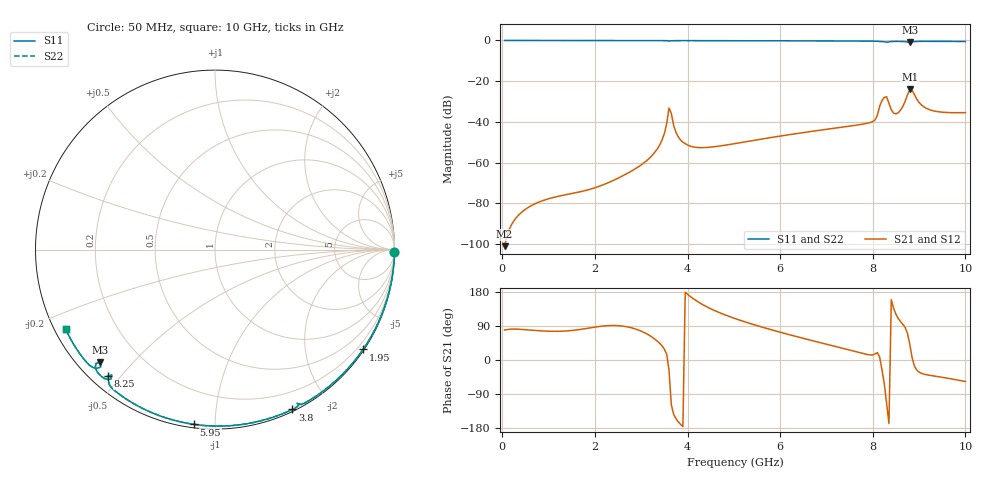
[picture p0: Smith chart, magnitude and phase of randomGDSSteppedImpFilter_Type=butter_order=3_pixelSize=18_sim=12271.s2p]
! freq	dB(S11)	phase(S11)	dB(S12)	phase(S12)
!  dB(S21)	phase(S21)	dB(S22)	phase(S22)
!S-par simulation data
#  GHz  S  DB  R 50
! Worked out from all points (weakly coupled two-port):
!   200 points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, 50 MHz to 10 GHz, reference 50 ohm
!   highest |S21| = -23.99 dB at 8.8 GHz (marker M1); lowest = -100.9 dB at 50 MHz (marker M2)
!   lowest |S11| = -1.0 dB at 8.8 GHz (marker M3), VSWR 18.22, Z = 3.2 - j20.3 ohm
!   |S11| at or under -10 dB: nowhere
!   |S22| runs from -0.9 to 0.0 dB; largest |S21 - S12| = 0
!   S11 on the Smith chart (normalised r, x): 50 MHz: open; 1.95 GHz: 0.03, -3.27; 3.8 GHz: 0.02, -1.60; 5.95 GHz: 0.02, -0.89; 8.25 GHz: 0.05, -0.46; 10 GHz: 0.03, -0.25
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0.05  -0.00 -0.9  -100.95 79.4  -100.95 79.4  -0.00 -0.9
0.7  -0.01 -12.4  -80.21 78.0  -80.21 78.0  -0.01 -12.4
1.75  -0.04 -30.6  -73.89 81.9  -73.89 81.9  -0.04 -30.6
1.95  -0.04 -34.0  -72.65 85.9  -72.65 85.9  -0.04 -34.0
2.9  -0.06 -49.9  -62.60 80.9  -62.60 80.9  -0.06 -49.9
3.4  -0.08 -58.2  -51.25 43.9  -51.25 43.9  -0.08 -58.2
3.5  -0.09 -59.9  -45.63 28.7  -45.63 28.7  -0.09 -59.9
3.6  -0.25 -61.9  -33.18 -26.7  -33.18 -26.7  -0.25 -62.0
3.8  -0.09 -64.1  -47.33 -163.0  -47.33 -163.0  -0.09 -64.1
4.2  -0.10 -70.6  -52.49 155.5  -52.49 155.5  -0.10 -70.6
5.05  -0.13 -83.6  -50.50 108.3  -50.50 108.3  -0.13 -83.6
5.95  -0.17 -96.8  -47.09 75.0  -47.09 75.0  -0.17 -96.8
6.7  -0.21 -107.6  -44.57 50.8  -44.57 50.8  -0.21 -107.6
8  -0.34 -126.5  -39.82 13.4  -39.82 13.4  -0.34 -126.5
8.25  -0.68 -130.3  -27.90 -64.2  -27.90 -64.2  -0.69 -130.4
8.3  -0.86 -129.5  -27.68 -117.2  -27.68 -117.2  -0.88 -129.6
8.35  -0.68 -128.9  -30.86 -167.7  -30.86 -167.7  -0.69 -128.8
8.45  -0.48 -130.7  -35.69 136.5  -35.69 136.5  -0.48 -130.7
8.55  -0.46 -132.6  -35.45 109.4  -35.45 109.4  -0.46 -132.6
8.8  -0.95 -135.6  -23.99 41.1  -23.99 41.1  -0.95 -135.6
9.2  -0.43 -140.4  -33.75 -39.9  -33.75 -39.9  -0.43 -140.4
10  -0.51 -151.9  -35.42 -56.8  -35.42 -56.8  -0.51 -151.9
